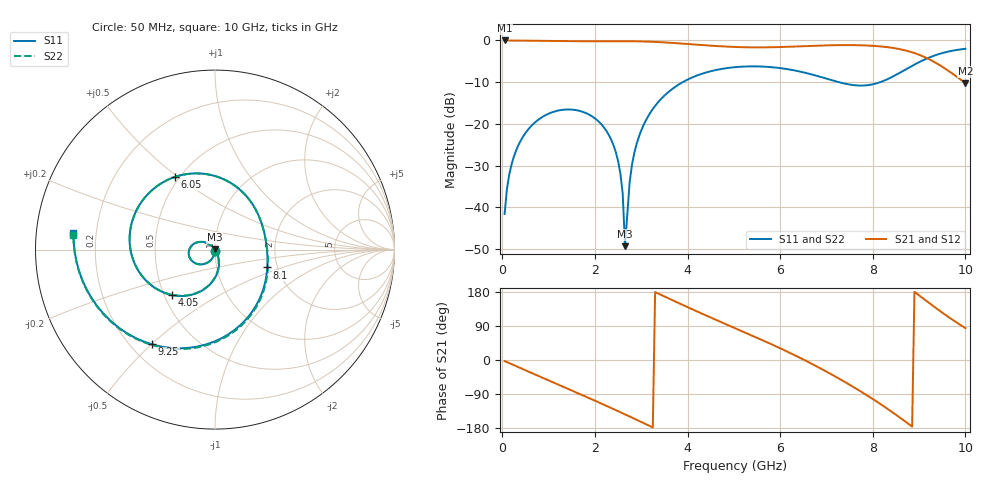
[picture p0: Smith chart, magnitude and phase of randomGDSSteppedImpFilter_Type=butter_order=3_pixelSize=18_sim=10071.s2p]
! freq	dB(S11)	phase(S11)	dB(S12)	phase(S12)
!  dB(S21)	phase(S21)	dB(S22)	phase(S22)
!S-par simulation data
#  GHz  S  DB  R 50
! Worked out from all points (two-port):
!   200 points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, 50 MHz to 10 GHz, reference 50 ohm
!   highest |S21| = 0.00 dB at 50 MHz (marker M1); lowest = -10.2 dB at 10 GHz (marker M2)
!   |S21| within 3 dB of the highest: start of sweep to 8.894 GHz
!   lowest |S11| = -49.3 dB at 2.65 GHz (marker M3), VSWR 1.01, Z = 49.8 + j0.274 ohm
!   |S11| at or under -10 dB: start of sweep to 3.896 GHz; 7.266 GHz to 8.162 GHz (895.6 MHz wide, 11.6 % of centre)
!   |S22| runs from -48.3 to -2.0 dB; largest |S21 - S12| = 0
!   S11 on the Smith chart (normalised r, x): 50 MHz: 1.00, -0.02; 4.05 GHz: 0.55, -0.31; 6.05 GHz: 0.47, +0.49; 8.1 GHz: 1.77, -0.39; 9.25 GHz: 0.28, -0.50; 10 GHz: 0.12, +0.06
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0.05  -41.62 -92.1  -0.00 -2.8  -0.00 -2.8  -41.60 -92.0
0.2  -29.73 -100.7  -0.02 -10.9  -0.02 -10.9  -29.73 -100.8
0.55  -21.47 -120.4  -0.07 -29.8  -0.07 -29.8  -21.47 -120.3
1.15  -16.97 -152.7  -0.16 -61.9  -0.16 -61.9  -16.97 -152.5
1.75  -17.17 175.3  -0.19 -93.9  -0.19 -93.9  -17.17 175.6
2.15  -20.25 153.6  -0.17 -115.6  -0.17 -115.6  -20.25 154.3
2.45  -26.75 137.0  -0.16 -132.2  -0.16 -132.2  -26.75 138.9
2.6  -36.70 128.7  -0.17 -140.6  -0.17 -140.6  -36.66 135.1
2.65  -49.32 126.5  -0.17 -143.5  -0.17 -143.5  -48.27 156.5
2.75  -33.98 -60.1  -0.18 -149.1  -0.18 -149.1  -33.93 -65.1
2.85  -27.01 -65.7  -0.20 -154.9  -0.20 -154.9  -27.00 -68.1
3.4  -14.37 -97.1  -0.41 173.5  -0.41 173.5  -14.37 -97.8
4.05  -9.13 -133.7  -0.89 136.7  -0.89 136.7  -9.13 -134.1
5.05  -6.38 172.9  -1.57 82.7  -1.57 82.7  -6.38 172.6
6.05  -6.70 118.8  -1.57 28.1  -1.57 28.1  -6.70 118.7
6.7  -8.21 80.1  -1.29 -11.1  -1.29 -11.1  -8.20 80.2
7.5  -10.58 27.1  -1.12 -65.3  -1.12 -65.3  -10.57 28.0
8.1  -10.23 -18.8  -1.37 -110.9  -1.37 -110.9  -10.21 -17.3
8.35  -9.12 -40.2  -1.66 -131.5  -1.66 -131.5  -9.10 -38.6
8.8  -6.39 -81.4  -2.68 -171.2  -2.68 -171.2  -6.38 -79.9
9.25  -3.96 -123.6  -4.70 147.4  -4.70 147.4  -3.96 -122.4
10  -2.00 173.4  -10.23 84.1  -10.23 84.1  -2.01 174.2
